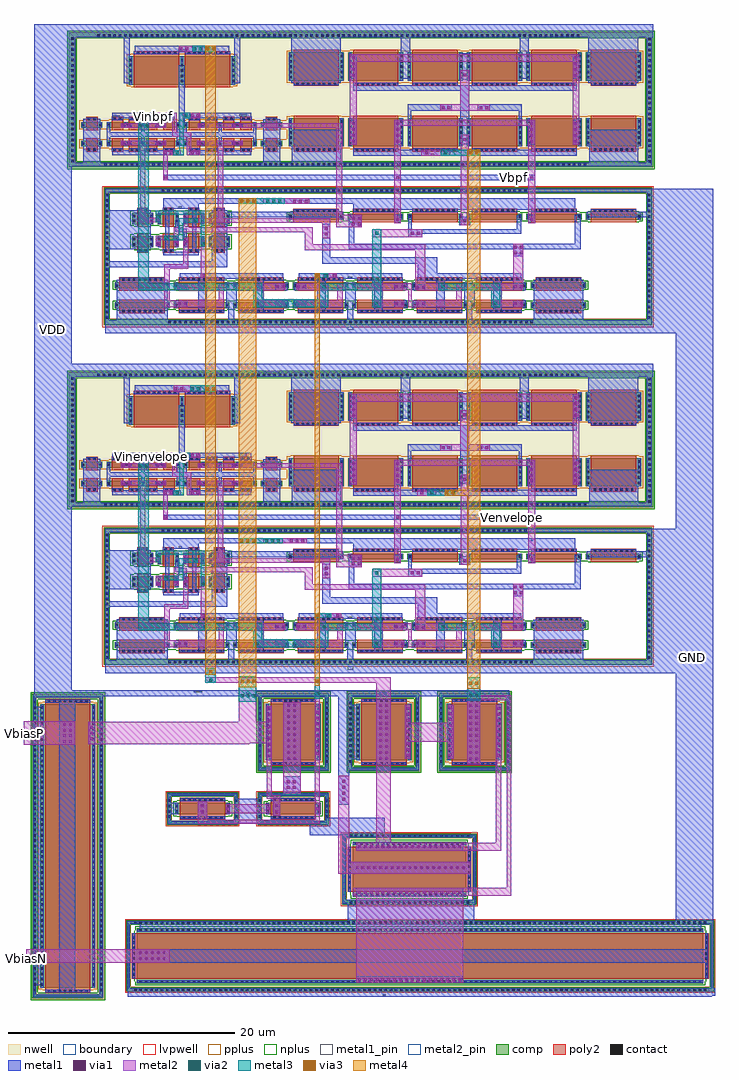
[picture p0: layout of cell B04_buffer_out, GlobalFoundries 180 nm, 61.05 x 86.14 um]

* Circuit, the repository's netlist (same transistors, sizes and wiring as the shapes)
* Extracted by KLayout with GF180MCU LVS runset on : 25/08/2026 01:56

.SUBCKT B04_buffer_out VbiasN VbiasP Venvelope VDD Vinenvelope Vinbpf Vbpf GND
X$1 \$7 VbiasN VDD \$10 \$4 \$3 VbiasP GND B04_OTA_bias_ratio_5
X$2 \$4 \$3 Venvelope VDD Venvelope Vinenvelope \$7 \$10 GND B04_OTA
X$3 \$4 \$3 Vbpf VDD Vbpf Vinbpf \$7 \$10 GND B04_OTA
.ENDS B04_buffer_out

.SUBCKT B04_OTA Vbias1 Vbias2 Vout VDD Vin\x2d Vin+ Vbias3 Vbias0 GND
M$1 \$16 Vbias0 VDD VDD pfet_03v3 L=4U W=5U AS=1.75P AD=1.75P PS=8.9U PD=8.9U
M$3 Vout Vbias3 \$19 VDD pfet_03v3 L=4U W=5U AS=2.2P AD=2.2P PS=11.76U PD=11.76U
M$5 VDD \$11 \$19 VDD pfet_03v3 L=4U W=5U AS=2.2P AD=2.2P PS=11.76U PD=11.76U
M$6 VDD \$11 \$21 VDD pfet_03v3 L=4U W=5U AS=2.2P AD=2.2P PS=11.76U PD=11.76U
M$9 \$21 Vbias3 \$11 VDD pfet_03v3 L=4U W=5U AS=2.2P AD=2.2P PS=11.76U PD=11.76U
M$11 VDD VDD VDD VDD pfet_03v3 L=4U W=10U AS=4.4P AD=4.4P PS=23.52U PD=23.52U
M$15 \$5 Vin\x2d \$16 VDD pfet_03v3 L=1U W=2U AS=0.61P AD=0.61P PS=4.94U
+ PD=4.94U
M$19 \$9 Vin+ \$16 VDD pfet_03v3 L=1U W=2U AS=0.61P AD=0.61P PS=4.94U PD=4.94U
M$23 \$3 Vin+ \$16 VDD pfet_03v3 L=1U W=2U AS=0.61P AD=0.61P PS=4.94U PD=4.94U
M$27 \$4 Vin\x2d \$16 VDD pfet_03v3 L=1U W=2U AS=0.61P AD=0.61P PS=4.94U
+ PD=4.94U
M$31 VDD VDD VDD VDD pfet_03v3 L=1U W=2U AS=0.88P AD=0.88P PS=7.52U PD=7.52U
M$35 \$2 Vbias2 \$5 GND nfet_03v3 L=1U W=2U AS=0.88P AD=0.88P PS=5.76U PD=5.76U
M$36 \$9 Vbias2 \$7 GND nfet_03v3 L=1U W=2U AS=0.88P AD=0.88P PS=5.76U PD=5.76U
M$37 GND GND GND GND nfet_03v3 L=1U W=4U AS=1.76P AD=1.76P PS=11.52U PD=11.52U
M$43 GND \$5 \$2 GND nfet_03v3 L=4U W=1U AS=0.44P AD=0.44P PS=3.76U PD=3.76U
M$44 \$3 Vbias1 GND GND nfet_03v3 L=4U W=1U AS=0.44P AD=0.44P PS=3.76U PD=3.76U
M$45 \$3 \$5 GND GND nfet_03v3 L=4U W=1U AS=0.44P AD=0.44P PS=3.76U PD=3.76U
M$46 GND \$9 \$4 GND nfet_03v3 L=4U W=1U AS=0.44P AD=0.44P PS=3.76U PD=3.76U
M$47 GND Vbias1 \$4 GND nfet_03v3 L=4U W=1U AS=0.44P AD=0.44P PS=3.76U PD=3.76U
M$48 \$7 \$9 GND GND nfet_03v3 L=4U W=1U AS=0.44P AD=0.44P PS=3.76U PD=3.76U
M$49 GND GND GND GND nfet_03v3 L=4U W=3U AS=1.32P AD=1.32P PS=11.28U PD=11.28U
M$52 \$3 Vbias2 \$11 GND nfet_03v3 L=4U W=1U AS=0.44P AD=0.44P PS=3.76U PD=3.76U
M$58 \$4 Vbias2 Vout GND nfet_03v3 L=4U W=1U AS=0.44P AD=0.44P PS=3.76U PD=3.76U
.ENDS B04_OTA

.SUBCKT B04_OTA_bias_ratio_5 Vbias3 VbiasN VDD Vbias0 Vbias1 Vbias2 VbiasP GND
M$1 Vbias2 VbiasP VDD VDD pfet_03v3 L=4U W=25U AS=11P AD=11P PS=50.88U PD=50.88U
M$2 Vbias3 VbiasN GND GND nfet_03v3 L=4U W=50U AS=22P AD=22P PS=100.88U
+ PD=100.88U
M$3 \$10 Vbias1 GND GND nfet_03v3 L=4U W=1U AS=0.44P AD=0.44P PS=2.88U PD=2.88U
M$4 Vbias1 Vbias2 \$10 GND nfet_03v3 L=4U W=1U AS=0.44P AD=0.44P PS=2.88U
+ PD=2.88U
M$5 Vbias3 VDD Vbias0 GND nfet_03v3 L=4U W=10U AS=4.4P AD=4.4P PS=20.88U
+ PD=20.88U
M$6 Vbias0 Vbias3 \$15 VDD pfet_03v3 L=4U W=5U AS=2.2P AD=2.2P PS=10.88U
+ PD=10.88U
M$7 \$15 Vbias0 VDD VDD pfet_03v3 L=4U W=5U AS=2.2P AD=2.2P PS=10.88U PD=10.88U
M$8 Vbias1 GND Vbias2 VDD pfet_03v3 L=4U W=5U AS=2.2P AD=2.2P PS=10.88U
+ PD=10.88U
.ENDS B04_OTA_bias_ratio_5

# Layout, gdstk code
from math import pi, radians
import gdstk
lib = gdstk.Library(unit=1e-6, precision=1e-09)
def R(c, l, rs):  # rectangles x0, y0, x1, y1
    for r in rs: c.add(gdstk.rectangle(r[:2], r[2:], *l))
def A(c, l, x, y, w, h, nx, ny, dx, dy):  # array of equal rectangles
    R(c, l, [(x+i*dx, y+j*dy, x+i*dx+w, y+j*dy+h) for i in range(nx) for j in range(ny)])
boundary = (0, 0)
nwell = (21, 0)
comp = (22, 0)
poly2 = (30, 0)
pplus = (31, 0)
nplus = (32, 0)
contact = (33, 0)
metal1 = (34, 0)
metal1_pin = (34, 10)
via1 = (35, 0)
metal2 = (36, 0)
metal2_pin = (36, 10)
via2 = (38, 0)
via3 = (40, 0)
metal3 = (42, 0)
metal4 = (46, 0)
lvpwell = (204, 0)

pfet_03v3_aerj7t = lib.new_cell('pfet_03v3_AERJ7T')
R(pfet_03v3_aerj7t, boundary, [(-2.95,-3.25,2.95,3.25)])
R(pfet_03v3_aerj7t, nwell, [(-3.25,-3.55,3.25,3.55)])
R(pfet_03v3_aerj7t, comp, [(-3.13,-3.43,3.13,-3.07), (-3.13,-3.07,-2.77,3.07), (2.77,-3.07,3.13,3.07), (-2.44,-2.5,2.44,2.5), (-3.13,3.07,3.13,3.43)])
R(pfet_03v3_aerj7t, poly2, [(-2,-2.96,2,2.96)])
R(pfet_03v3_aerj7t, pplus, [(-2.23,-2.73,2.23,-2.66), (-2.6,-2.66,2.6,2.66), (-2.23,2.66,2.23,2.73)])
R(pfet_03v3_aerj7t, nplus, [(-3.29,-3.59,3.29,-2.96), (-3.29,-2.96,-2.66,2.96), (2.66,-2.96,3.29,2.96), (-3.29,2.96,3.29,3.59)])
A(pfet_03v3_aerj7t, contact, -1.755, -2.89, 0.22, 0.22, 8, 2, 0.47, 5.56)
A(pfet_03v3_aerj7t, contact, -3.06, -2.695, 0.22, 0.22, 1, 12, 0, 0.47)
A(pfet_03v3_aerj7t, contact, 2.84, -2.695, 0.22, 0.22, 1, 12, 0, 0.47)
A(pfet_03v3_aerj7t, contact, -2.37, -2.225, 0.22, 0.22, 1, 10, 0, 0.47)
A(pfet_03v3_aerj7t, contact, 2.15, -2.225, 0.22, 0.22, 1, 10, 0, 0.47)
R(pfet_03v3_aerj7t, metal1, [(-3.065,-3.365,3.065,-3.135), (-3.065,-3.135,-2.835,3.135), (2.835,-3.135,3.065,3.135), (-1.99,-2.895,1.99,-2.665), (-2.375,-2.49,-2.145,2.49), (2.145,-2.49,2.375,2.49), (-1.99,2.665,1.99,2.895), (-3.065,3.135,3.065,3.365)])

nfet_03v3_gptq69 = lib.new_cell('nfet_03v3_GPTQ69')
R(nfet_03v3_gptq69, boundary, [(-2.95,-5.75,2.95,5.75)])
R(nfet_03v3_gptq69, comp, [(-3.13,-5.93,3.13,-5.57), (-3.13,-5.57,-2.77,5.57), (2.77,-5.57,3.13,5.57), (-2.44,-5,2.44,5), (-3.13,5.57,3.13,5.93)])
R(nfet_03v3_gptq69, poly2, [(-2,-5.46,2,5.46)])
R(nfet_03v3_gptq69, pplus, [(-3.15,-5.95,3.15,-5.55), (-3.15,-5.55,-2.74,-5.445), (2.74,-5.55,3.15,-5.445), (-3.16,-5.445,-2.74,5.445), (2.74,-5.445,3.16,5.445), (-3.15,5.445,-2.74,5.55), (2.74,5.445,3.15,5.55), (-3.15,5.55,3.15,5.95)])
R(nfet_03v3_gptq69, nplus, [(-2.23,-5.23,2.23,-5.16), (-2.6,-5.16,2.6,5.16), (-2.23,5.16,2.23,5.23)])
A(nfet_03v3_gptq69, contact, -1.755, -5.39, 0.22, 0.22, 8, 2, 0.47, 10.56)
A(nfet_03v3_gptq69, contact, -3.06, -5.28, 0.22, 0.22, 1, 23, 0, 0.47)
A(nfet_03v3_gptq69, contact, 2.84, -5.28, 0.22, 0.22, 1, 23, 0, 0.47)
A(nfet_03v3_gptq69, contact, -2.37, -4.81, 0.22, 0.22, 1, 21, 0, 0.47)
A(nfet_03v3_gptq69, contact, 2.15, -4.81, 0.22, 0.22, 1, 21, 0, 0.47)
R(nfet_03v3_gptq69, metal1, [(-3.065,-5.865,3.065,-5.635), (-3.065,-5.635,-2.835,5.635), (2.835,-5.635,3.065,5.635), (-1.99,-5.395,1.99,-5.165), (-2.375,-4.99,-2.145,4.99), (2.145,-4.99,2.375,4.99), (-1.99,5.165,1.99,5.395), (-3.065,5.635,3.065,5.865)])
R(nfet_03v3_gptq69, lvpwell, [(-3.25,-6.05,3.25,6.05)])

nfet_03v3_rec73x = lib.new_cell('nfet_03v3_REC73X')
R(nfet_03v3_rec73x, boundary, [(-2.95,-1.25,2.95,1.25)])
R(nfet_03v3_rec73x, comp, [(-3.13,-1.43,3.13,-1.07), (-3.13,-1.07,-2.77,1.07), (2.77,-1.07,3.13,1.07), (-2.44,-0.5,2.44,0.5), (-3.13,1.07,3.13,1.43)])
R(nfet_03v3_rec73x, poly2, [(-2,-0.96,2,0.96)])
R(nfet_03v3_rec73x, pplus, [(-3.15,-1.45,3.15,-1.05), (-3.15,-1.05,-2.74,-0.945), (2.74,-1.05,3.15,-0.945), (-3.16,-0.945,-2.74,0.945), (2.74,-0.945,3.16,0.945), (-3.15,0.945,-2.74,1.05), (2.74,0.945,3.15,1.05), (-3.15,1.05,3.15,1.45)])
R(nfet_03v3_rec73x, nplus, [(-2.23,-0.73,2.23,-0.66), (-2.6,-0.66,2.6,0.66), (-2.23,0.66,2.23,0.73)])
A(nfet_03v3_rec73x, contact, -1.755, -0.89, 0.22, 0.22, 8, 2, 0.47, 1.56)
A(nfet_03v3_rec73x, contact, -3.06, -0.815, 0.22, 0.22, 1, 4, 0, 0.47)
A(nfet_03v3_rec73x, contact, 2.84, -0.815, 0.22, 0.22, 1, 4, 0, 0.47)
R(nfet_03v3_rec73x, contact, [(-2.37,-0.345,-2.15,-0.125), (2.15,-0.345,2.37,-0.125), (-2.37,0.125,-2.15,0.345), (2.15,0.125,2.37,0.345)])
R(nfet_03v3_rec73x, metal1, [(-3.065,-1.365,3.065,-1.135), (-3.065,-1.135,-2.835,1.135), (2.835,-1.135,3.065,1.135), (-1.99,-0.895,1.99,-0.665), (-2.375,-0.49,-2.145,0.49), (2.145,-0.49,2.375,0.49), (-1.99,0.665,1.99,0.895), (-3.065,1.135,3.065,1.365)])
R(nfet_03v3_rec73x, lvpwell, [(-3.25,-1.55,3.25,1.55)])

nfet_03v3_fflzc7 = lib.new_cell('nfet_03v3_FFLZC7')
R(nfet_03v3_fflzc7, boundary, [(-2.95,-25.75,2.95,25.75)])
R(nfet_03v3_fflzc7, comp, [(-3.13,-25.93,3.13,-25.57), (-3.13,-25.57,-2.77,25.57), (2.77,-25.57,3.13,25.57), (-2.44,-25,2.44,25), (-3.13,25.57,3.13,25.93)])
R(nfet_03v3_fflzc7, poly2, [(-2,-25.46,2,25.46)])
R(nfet_03v3_fflzc7, pplus, [(-3.15,-25.95,3.15,-25.55), (-3.15,-25.55,-2.74,-25.445), (2.74,-25.55,3.15,-25.445), (-3.16,-25.445,-2.74,25.445), (2.74,-25.445,3.16,25.445), (-3.15,25.445,-2.74,25.55), (2.74,25.445,3.15,25.55), (-3.15,25.55,3.15,25.95)])
R(nfet_03v3_fflzc7, nplus, [(-2.23,-25.23,2.23,-25.16), (-2.6,-25.16,2.6,25.16), (-2.23,25.16,2.23,25.23)])
A(nfet_03v3_fflzc7, contact, -1.755, -25.39, 0.22, 0.22, 8, 2, 0.47, 50.56)
A(nfet_03v3_fflzc7, contact, -3.06, -25.255, 0.22, 0.22, 1, 108, 0, 0.47)
A(nfet_03v3_fflzc7, contact, 2.84, -25.255, 0.22, 0.22, 1, 108, 0, 0.47)
A(nfet_03v3_fflzc7, contact, -2.37, -24.785, 0.22, 0.22, 1, 106, 0, 0.47)
A(nfet_03v3_fflzc7, contact, 2.15, -24.785, 0.22, 0.22, 1, 106, 0, 0.47)
R(nfet_03v3_fflzc7, metal1, [(-3.065,-25.865,3.065,-25.635), (-3.065,-25.635,-2.835,25.635), (2.835,-25.635,3.065,25.635), (-1.99,-25.395,1.99,-25.165), (-2.375,-24.99,-2.145,24.99), (2.145,-24.99,2.375,24.99), (-1.99,25.165,1.99,25.395), (-3.065,25.635,3.065,25.865)])
R(nfet_03v3_fflzc7, lvpwell, [(-3.25,-26.05,3.25,26.05)])

pfet_03v3_z6kxze = lib.new_cell('pfet_03v3_Z6KXZE')
R(pfet_03v3_z6kxze, boundary, [(-2.95,-13.25,2.95,13.25)])
R(pfet_03v3_z6kxze, nwell, [(-3.25,-13.55,3.25,13.55)])
R(pfet_03v3_z6kxze, comp, [(-3.13,-13.43,3.13,-13.07), (-3.13,-13.07,-2.77,13.07), (2.77,-13.07,3.13,13.07), (-2.44,-12.5,2.44,12.5), (-3.13,13.07,3.13,13.43)])
R(pfet_03v3_z6kxze, poly2, [(-2,-12.96,2,12.96)])
R(pfet_03v3_z6kxze, pplus, [(-2.23,-12.73,2.23,-12.66), (-2.6,-12.66,2.6,12.66), (-2.23,12.66,2.23,12.73)])
R(pfet_03v3_z6kxze, nplus, [(-3.29,-13.59,3.29,-12.96), (-3.29,-12.96,-2.66,12.96), (2.66,-12.96,3.29,12.96), (-3.29,12.96,3.29,13.59)])
A(pfet_03v3_z6kxze, contact, -1.755, -12.89, 0.22, 0.22, 8, 2, 0.47, 25.56)
A(pfet_03v3_z6kxze, contact, -3.06, -12.8, 0.22, 0.22, 1, 55, 0, 0.47)
A(pfet_03v3_z6kxze, contact, 2.84, -12.8, 0.22, 0.22, 1, 55, 0, 0.47)
A(pfet_03v3_z6kxze, contact, -2.37, -12.33, 0.22, 0.22, 1, 53, 0, 0.47)
A(pfet_03v3_z6kxze, contact, 2.15, -12.33, 0.22, 0.22, 1, 53, 0, 0.47)
R(pfet_03v3_z6kxze, metal1, [(-3.065,-13.365,3.065,-13.135), (-3.065,-13.135,-2.835,13.135), (2.835,-13.135,3.065,13.135), (-1.99,-12.895,1.99,-12.665), (-2.375,-12.49,-2.145,12.49), (2.145,-12.49,2.375,12.49), (-1.99,12.665,1.99,12.895), (-3.065,13.135,3.065,13.365)])

b04_ota_bias_ratio_5 = lib.new_cell('B04_OTA_bias_ratio_5')
R(b04_ota_bias_ratio_5, metal1, [(-3.85,-20.1,47.7,-20), (-3.85,-20,48,-19.45), (-9.9,-19.6,-8.5,6), (18.65,-19.45,48,-19.35), (-12.1,-19.1,-11.45,5.5), (16.3,-18.85,25.65,-18.3), (-3.4,-17.1,47.3,-15.9), (-2.8,-14.25,46.75,-13.55), (15.55,-13.55,26.7,-11.9), (15.3,-11.9,26.7,-11.8), (15.25,-11.8,26.7,-11.55), (16.3,-11.2,25.75,-10.5), (15.65,-9.25,26.35,-8.2), (16.3,-7.2,25.75,-6.5), (12.2,-5.85,18.8,-4.75), (4.45,-4.8,9.15,-4.75), (5.75,-4.75,7.7,-4.4), (13.6,-4.75,18.8,-4.3), (5.6,-4.4,7.85,-2.65), (9,-4.4,9.45,-4.2), (2.3,-4.35,3.15,-2.65), (9,-4.2,9.6,-2.8), (-0.25,-4,0.5,-3), (4.8,-3.9,5.2,-3.1), (8.3,-3.9,8.7,-3.1), (12.65,-3.9,13.1,-3.1), (14.7,-3.15,15.7,6.4), (9,-2.8,9.45,-2.65), (9.85,-2.2,11.4,-0.65), (9.85,0.4,11.4,6.1), (18.05,0.4,19.35,6.1), (26.1,0.4,27.25,6.05), (8.4,0.85,8.85,5.6), (15.75,0.85,16.6,5.65), (12.65,0.9,13,1), (20.6,0.9,21.05,5.65), (24.45,0.9,24.9,5.65), (28.6,0.9,29.1,5.65), (12.65,1,13.05,5.4), (-7.35,2.2,-6.9,4.15), (12.65,5.4,13,5.55), (-11.05,6,-7.25,6.05), (-12.1,6.4,29.8,6.95)])
R(b04_ota_bias_ratio_5, metal1_pin, [(18.65,-20,18.9,-19.9), (1.95,6.75,2.7,6.85)])
A(b04_ota_bias_ratio_5, via1, 16.45, -18.73, 0.26, 0.26, 18, 2, 0.52, 7.7)
A(b04_ota_bias_ratio_5, via1, -2.87, -16.865, 0.26, 0.26, 5, 2, 0.52, 0.52)
A(b04_ota_bias_ratio_5, via1, 16.24, -8.855, 0.26, 0.26, 19, 1, 0.52, 0)
A(b04_ota_bias_ratio_5, via1, 16.45, -6.98, 0.26, 0.26, 18, 1, 0.52, 0)
A(b04_ota_bias_ratio_5, via1, 15.07, -2.785, 0.26, 0.26, 1, 4, 0, 0.52)
A(b04_ota_bias_ratio_5, via1, 26.285, 0.78, 0.26, 0.26, 1, 10, 0, 0.52)
A(b04_ota_bias_ratio_5, via1, 26.805, 0.78, 0.26, 0.26, 1, 10, 0, 0.52)
A(b04_ota_bias_ratio_5, via1, 18.335, 0.805, 0.26, 0.26, 1, 10, 0, 0.52)
A(b04_ota_bias_ratio_5, via1, 18.855, 0.805, 0.26, 0.26, 1, 10, 0, 0.52)
A(b04_ota_bias_ratio_5, via1, 10.235, 0.83, 0.26, 0.26, 1, 10, 0, 0.52)
A(b04_ota_bias_ratio_5, via1, 10.755, 0.83, 0.26, 0.26, 1, 10, 0, 0.52)
A(b04_ota_bias_ratio_5, via1, 8.47, 1.015, 0.26, 0.26, 1, 9, 0, 0.52)
A(b04_ota_bias_ratio_5, via1, 20.72, 1.065, 0.26, 0.26, 1, 9, 0, 0.52)
A(b04_ota_bias_ratio_5, via1, 28.72, 1.065, 0.26, 0.26, 1, 9, 0, 0.52)
A(b04_ota_bias_ratio_5, via1, 24.52, 1.115, 0.26, 0.26, 1, 9, 0, 0.52)
A(b04_ota_bias_ratio_5, via1, 12.77, 1.25, 0.26, 0.26, 1, 8, 0, 0.52)
A(b04_ota_bias_ratio_5, via1, -9.59, 2.265, 0.26, 0.26, 1, 4, 0, 0.52)
A(b04_ota_bias_ratio_5, via1, -9.07, 2.265, 0.26, 0.26, 1, 4, 0, 0.52)
A(b04_ota_bias_ratio_5, via1, -7.23, 2.525, 0.26, 0.26, 1, 3, 0, 0.52)
R(b04_ota_bias_ratio_5, via1, [(2.595,-3.89,2.855,-3.63), (9.145,-3.89,9.405,-3.63), (4.87,-3.63,5.13,-3.37), (8.37,-3.63,8.63,-3.37), (12.77,-3.63,13.03,-3.37), (2.595,-3.37,2.855,-3.11), (9.145,-3.37,9.405,-3.11), (10.185,-1.765,10.445,-1.505), (10.705,-1.765,10.965,-1.505), (10.185,-1.245,10.445,-0.985), (10.705,-1.245,10.965,-0.985)])
R(b04_ota_bias_ratio_5, metal2, [(16.3,-18.85,25.75,-11.2), (-12.55,-17.1,-0.15,-15.9), (16.05,-11.2,30,-10.5), (29.6,-10.5,30,6.05), (14.7,-9.25,26.35,-8.2), (14.7,-8.2,15.7,-0.6), (16.3,-7.2,29.1,-6.5), (18.05,-6.5,19.35,6.95), (28.6,-6.5,29.1,5.65), (2.3,-4.85,13.1,-4.5), (2.3,-4.5,3.15,-2.85), (12.65,-4.5,13.1,6.95), (9,-4.15,9.6,-2.65), (4.8,-3.9,8.7,-3.1), (8.4,-2.65,9.6,-2.3), (8.4,-2.3,8.85,2.25), (9.85,-2.15,11.4,5.9), (26.1,0.4,27.25,6.05), (20.6,0.9,21.05,2.4), (24.4,0.9,24.9,2.4), (-12.75,2.15,-8.5,4.2), (-7.35,2.2,6.85,2.25), (-7.35,2.25,8.85,4.15), (20.6,2.4,24.9,4.1), (20.6,4.1,21.05,5.65), (24.4,4.1,24.9,5.65), (5.95,4.15,7.5,6.95), (8.4,4.15,8.85,5.6), (26.1,6.05,30,6.5), (26.1,6.5,27.25,6.95)])
R(b04_ota_bias_ratio_5, metal2_pin, [(-12.5,-16.5,-12.45,-16.4), (-12.7,2.75,-12.55,2.9), (18.4,6.5,19,6.75), (6.55,6.65,6.9,6.8), (26.3,6.7,26.9,6.85), (12.75,6.75,12.95,6.9)])
R(b04_ota_bias_ratio_5, lvpwell, [(4.8,-3.9,5,-3.75)])
b04_ota_bias_ratio_5.add(gdstk.Reference(pfet_03v3_aerj7t, (18.75,3.25)))
b04_ota_bias_ratio_5.add(gdstk.Reference(pfet_03v3_aerj7t, (26.75,3.25)))
b04_ota_bias_ratio_5.add(gdstk.Reference(nfet_03v3_gptq69, (21,-8.85), rotation=3*pi/2))
b04_ota_bias_ratio_5.add(gdstk.Reference(nfet_03v3_rec73x, (2.75,-3.5)))
b04_ota_bias_ratio_5.add(gdstk.Reference(nfet_03v3_rec73x, (10.75,-3.5)))
b04_ota_bias_ratio_5.add(gdstk.Reference(nfet_03v3_fflzc7, (21.95,-16.5), rotation=3*pi/2))
b04_ota_bias_ratio_5.add(gdstk.Reference(pfet_03v3_z6kxze, (-9.15,-6.8)))
b04_ota_bias_ratio_5.add(gdstk.Reference(pfet_03v3_aerj7t, (10.75,3.25)))
b04_ota_bias_ratio_5.add(gdstk.Label('VDD', (2.325,6.8), layer=34, texttype=10))
b04_ota_bias_ratio_5.add(gdstk.Label('Vbias2', (6.725,6.725), layer=36, texttype=10))
b04_ota_bias_ratio_5.add(gdstk.Label('Vbias1', (12.85,6.825), layer=36, texttype=10))
b04_ota_bias_ratio_5.add(gdstk.Label('Vbias0', (18.7,6.625), layer=36, texttype=10))
b04_ota_bias_ratio_5.add(gdstk.Label('Vbias3', (26.6,6.775), layer=36, texttype=10))
b04_ota_bias_ratio_5.add(gdstk.Label('VbiasP', (-12.625,2.825), layer=36, texttype=10))
b04_ota_bias_ratio_5.add(gdstk.Label('VbiasN', (-12.475,-16.45), layer=36, texttype=10))
b04_ota_bias_ratio_5.add(gdstk.Label('GND', (18.775,-19.95), layer=34, texttype=10))

nfet_03v3_2m8gy8 = lib.new_cell('nfet_03v3_2M8GY8')
R(nfet_03v3_2m8gy8, comp, [(-2.44,-0.37,2.44,0.13)])
R(nfet_03v3_2m8gy8, poly2, [(-2,-0.59,2,0.59)])
R(nfet_03v3_2m8gy8, nplus, [(-2.23,-0.6,2.23,-0.53), (-2.6,-0.53,2.6,0.29), (-2.23,0.29,2.23,0.36)])
A(nfet_03v3_2m8gy8, contact, -1.755, 0.3, 0.22, 0.22, 8, 1, 0.47, 0)
R(nfet_03v3_2m8gy8, contact, [(-2.37,-0.23,-2.15,-0.01), (2.15,-0.23,2.37,-0.01)])
R(nfet_03v3_2m8gy8, metal1, [(-2.375,-0.36,-2.145,0.12), (2.145,-0.36,2.375,0.12), (-1.99,0.295,1.99,0.525)])
R(nfet_03v3_2m8gy8, lvpwell, [(-2.56,-0.71,2.56,0.71)])

nfet_03v3_ppzgc5 = lib.new_cell('nfet_03v3_PPZGC5')
R(nfet_03v3_ppzgc5, comp, [(-2.44,-0.13,2.44,0.37)])
R(nfet_03v3_ppzgc5, poly2, [(-2,-0.59,2,0.59)])
R(nfet_03v3_ppzgc5, nplus, [(-2.23,-0.36,2.23,-0.29), (-2.6,-0.29,2.6,0.53), (-2.23,0.53,2.23,0.6)])
A(nfet_03v3_ppzgc5, contact, -1.755, -0.52, 0.22, 0.22, 8, 1, 0.47, 0)
R(nfet_03v3_ppzgc5, contact, [(-2.37,0.01,-2.15,0.23), (2.15,0.01,2.37,0.23)])
R(nfet_03v3_ppzgc5, metal1, [(-1.99,-0.525,1.99,-0.295), (-2.375,-0.12,-2.145,0.36), (2.145,-0.12,2.375,0.36)])
R(nfet_03v3_ppzgc5, lvpwell, [(-2.56,-0.71,2.56,0.71)])

nfet_03v3_bn4d6p = lib.new_cell('nfet_03v3_BN4D6P')
R(nfet_03v3_bn4d6p, comp, [(-0.94,-0.38,0.94,0.62)])
R(nfet_03v3_bn4d6p, poly2, [(-0.5,-0.84,0.5,0.84)])
R(nfet_03v3_bn4d6p, nplus, [(-0.73,-0.61,0.73,-0.54), (-1.1,-0.54,1.1,0.78), (-0.73,0.78,0.73,0.85)])
R(nfet_03v3_bn4d6p, contact, [(-0.345,-0.77,-0.125,-0.55), (0.125,-0.77,0.345,-0.55), (-0.87,-0.225,-0.65,-0.005), (0.65,-0.225,0.87,-0.005), (-0.87,0.245,-0.65,0.465), (0.65,0.245,0.87,0.465)])
R(nfet_03v3_bn4d6p, metal1, [(-0.49,-0.775,0.49,-0.545), (-0.875,-0.37,-0.645,0.61), (0.645,-0.37,0.875,0.61)])
R(nfet_03v3_bn4d6p, lvpwell, [(-1.06,-0.96,1.06,0.96)])

nfet_03v3_vm6bb4 = lib.new_cell('nfet_03v3_VM6BB4')
R(nfet_03v3_vm6bb4, comp, [(-0.94,-0.62,0.94,0.38)])
R(nfet_03v3_vm6bb4, poly2, [(-0.5,-0.84,0.5,0.84)])
R(nfet_03v3_vm6bb4, nplus, [(-0.73,-0.85,0.73,-0.78), (-1.1,-0.78,1.1,0.54), (-0.73,0.54,0.73,0.61)])
R(nfet_03v3_vm6bb4, contact, [(-0.87,-0.465,-0.65,-0.245), (0.65,-0.465,0.87,-0.245), (-0.87,0.005,-0.65,0.225), (0.65,0.005,0.87,0.225), (-0.345,0.55,-0.125,0.77), (0.125,0.55,0.345,0.77)])
R(nfet_03v3_vm6bb4, metal1, [(-0.875,-0.61,-0.645,0.37), (0.645,-0.61,0.875,0.37), (-0.49,0.545,0.49,0.775)])
R(nfet_03v3_vm6bb4, lvpwell, [(-1.06,-0.96,1.06,0.96)])

pfet_03v3_6kzzre = lib.new_cell('pfet_03v3_6KZZRE')
R(pfet_03v3_6kzzre, nwell, [(-1.37,-1.02,1.37,1.02)])
R(pfet_03v3_6kzzre, comp, [(-0.94,-0.37,0.94,0.13)])
R(pfet_03v3_6kzzre, poly2, [(-0.5,-0.59,0.5,0.59)])
R(pfet_03v3_6kzzre, pplus, [(-0.73,-0.6,0.73,-0.53), (-1.1,-0.53,1.1,0.29), (-0.73,0.29,0.73,0.36)])
R(pfet_03v3_6kzzre, contact, [(-0.87,-0.23,-0.65,-0.01), (0.65,-0.23,0.87,-0.01), (-0.345,0.3,-0.125,0.52), (0.125,0.3,0.345,0.52)])
R(pfet_03v3_6kzzre, metal1, [(-0.875,-0.36,-0.645,0.12), (0.645,-0.36,0.875,0.12), (-0.49,0.295,0.49,0.525)])

pfet_03v3_wljepm = lib.new_cell('pfet_03v3_WLJEPM')
R(pfet_03v3_wljepm, nwell, [(-1.37,-1.02,1.37,1.02)])
R(pfet_03v3_wljepm, comp, [(-0.94,-0.13,0.94,0.37)])
R(pfet_03v3_wljepm, poly2, [(-0.5,-0.59,0.5,0.59)])
R(pfet_03v3_wljepm, pplus, [(-0.73,-0.36,0.73,-0.29), (-1.1,-0.29,1.1,0.53), (-0.73,0.53,0.73,0.6)])
R(pfet_03v3_wljepm, contact, [(-0.345,-0.52,-0.125,-0.3), (0.125,-0.52,0.345,-0.3), (-0.87,0.01,-0.65,0.23), (0.65,0.01,0.87,0.23)])
R(pfet_03v3_wljepm, metal1, [(-0.49,-0.525,0.49,-0.295), (-0.875,-0.12,-0.645,0.36), (0.645,-0.12,0.875,0.36)])

pfet_03v3_vsaa3l = lib.new_cell('pfet_03v3_VSAA3L')
R(pfet_03v3_vsaa3l, nwell, [(-3.65,-1.02,3.65,1.02)])
R(pfet_03v3_vsaa3l, comp, [(-3.22,-0.37,3.22,0.13)])
A(pfet_03v3_vsaa3l, poly2, -2.78, -0.59, 1, 1.18, 4, 1, 1.52, 0)
R(pfet_03v3_vsaa3l, pplus, [(-3.01,-0.6,3.01,-0.53), (-3.38,-0.53,3.38,0.29), (-3.01,0.29,3.01,0.36)])
A(pfet_03v3_vsaa3l, contact, -3.15, -0.23, 0.22, 0.22, 5, 1, 1.52, 0)
R(pfet_03v3_vsaa3l, contact, [(-2.625,0.3,-2.405,0.52), (-2.155,0.3,-1.935,0.52), (-1.105,0.3,-0.885,0.52), (-0.635,0.3,-0.415,0.52), (0.415,0.3,0.635,0.52), (0.885,0.3,1.105,0.52), (1.935,0.3,2.155,0.52), (2.405,0.3,2.625,0.52)])
A(pfet_03v3_vsaa3l, metal1, -3.155, -0.36, 0.23, 0.48, 5, 1, 1.52, 0)
A(pfet_03v3_vsaa3l, metal1, -2.77, 0.295, 0.98, 0.23, 4, 1, 1.52, 0)

pfet_03v3_p2re22 = lib.new_cell('pfet_03v3_P2RE22')
R(pfet_03v3_p2re22, nwell, [(-3.65,-1.02,3.65,1.02)])
R(pfet_03v3_p2re22, comp, [(-3.22,-0.13,3.22,0.37)])
A(pfet_03v3_p2re22, poly2, -2.78, -0.59, 1, 1.18, 4, 1, 1.52, 0)
R(pfet_03v3_p2re22, pplus, [(-3.01,-0.36,3.01,-0.29), (-3.38,-0.29,3.38,0.53), (-3.01,0.53,3.01,0.6)])
A(pfet_03v3_p2re22, contact, -3.15, 0.01, 0.22, 0.22, 5, 1, 1.52, 0)
R(pfet_03v3_p2re22, contact, [(-2.625,-0.52,-2.405,-0.3), (-2.155,-0.52,-1.935,-0.3), (-1.105,-0.52,-0.885,-0.3), (-0.635,-0.52,-0.415,-0.3), (0.415,-0.52,0.635,-0.3), (0.885,-0.52,1.105,-0.3), (1.935,-0.52,2.155,-0.3), (2.405,-0.52,2.625,-0.3)])
A(pfet_03v3_p2re22, metal1, -2.77, -0.525, 0.98, 0.23, 4, 1, 1.52, 0)
A(pfet_03v3_p2re22, metal1, -3.155, -0.12, 0.23, 0.48, 5, 1, 1.52, 0)

pfet_03v3_jkk7x9 = lib.new_cell('pfet_03v3_JKK7X9')
R(pfet_03v3_jkk7x9, nwell, [(-2.87,-2.02,2.87,2.02)])
R(pfet_03v3_jkk7x9, comp, [(-2.44,-1.13,2.44,1.37)])
R(pfet_03v3_jkk7x9, poly2, [(-2,-1.59,2,1.59)])
R(pfet_03v3_jkk7x9, pplus, [(-2.23,-1.36,2.23,-1.29), (-2.6,-1.29,2.6,1.53), (-2.23,1.53,2.23,1.6)])
A(pfet_03v3_jkk7x9, contact, -1.755, -1.52, 0.22, 0.22, 8, 1, 0.47, 0)
A(pfet_03v3_jkk7x9, contact, -2.37, -0.93, 0.22, 0.22, 1, 5, 0, 0.47)
A(pfet_03v3_jkk7x9, contact, 2.15, -0.93, 0.22, 0.22, 1, 5, 0, 0.47)
R(pfet_03v3_jkk7x9, metal1, [(-1.99,-1.525,1.99,-1.295), (-2.375,-1.12,-2.145,1.36), (2.145,-1.12,2.375,1.36)])

pfet_03v3_mw6kh8 = lib.new_cell('pfet_03v3_MW6KH8')
R(pfet_03v3_mw6kh8, nwell, [(-5.13,-2.02,5.13,2.02)])
R(pfet_03v3_mw6kh8, comp, [(-4.7,-1.37,4.7,1.13)])
R(pfet_03v3_mw6kh8, poly2, [(-4.26,-1.59,-0.26,1.59), (0.26,-1.59,4.26,1.59)])
R(pfet_03v3_mw6kh8, pplus, [(-4.49,-1.6,4.49,-1.53), (-4.86,-1.53,4.86,1.29), (-4.49,1.29,4.49,1.36)])
A(pfet_03v3_mw6kh8, contact, -4.63, -1.17, 0.22, 0.22, 3, 5, 4.52, 0.47)
A(pfet_03v3_mw6kh8, contact, -4.015, 1.3, 0.22, 0.22, 8, 1, 0.47, 0)
A(pfet_03v3_mw6kh8, contact, 0.505, 1.3, 0.22, 0.22, 8, 1, 0.47, 0)
A(pfet_03v3_mw6kh8, metal1, -4.635, -1.36, 0.23, 2.48, 3, 1, 4.52, 0)
R(pfet_03v3_mw6kh8, metal1, [(-4.25,1.295,-0.27,1.525), (0.27,1.295,4.25,1.525)])

b04_ota = lib.new_cell('B04_OTA')
R(b04_ota, nwell, [(-2.35,-6.8,49.5,5.4)])
R(b04_ota, comp, [(0.9,-20.55,49.25,-20.05), (0.9,-20.05,1.4,-8.95), (48.75,-20.05,49.25,-8.95), (0.9,-8.95,49.25,-8.45), (-2.2,-6.65,49.35,-6.15), (-2.2,-6.15,-1.55,4.75), (48.7,-6.15,49.35,4.75), (-2.2,4.75,49.35,5.25)])
A(b04_ota, pplus, 22.22, -4.97, 0.05, 2.82, 5, 2, 5.25, 5.8)
R(b04_ota, pplus, [(0.88,-20.57,49.27,-20.03), (0.88,-20.03,1.42,-8.97), (48.73,-20.03,49.27,-8.97), (0.88,-8.97,49.27,-8.43), (0.92,-4.97,0.97,-4.15), (7.73,-4.97,7.77,-4.15), (14.53,-4.97,14.57,-4.15), (16.77,-4.97,17.02,-4.15), (0.92,-3.31,0.97,-2.49), (7.73,-3.31,7.77,-2.49), (14.53,-3.31,14.57,-2.49), (16.77,-3.31,17.02,-2.49)])
A(b04_ota, nplus, 6.86, -19.23, 0.05, 0.82, 7, 2, 5.25, 1.76)
A(b04_ota, nplus, 5.41, -13.88, 0.05, 1.32, 3, 2, 2.25, 2.06)
A(b04_ota, nplus, 22.21, -11.42, 0.05, 0.82, 5, 1, 5.25, 0)
R(b04_ota, nplus, [(-2.36,-6.81,49.51,-6.13), (-2.36,-6.13,-1.53,4.73), (48.68,-6.13,49.51,4.73), (-2.36,4.73,49.51,5.41)])
A(b04_ota, contact, 6.56, -20.41, 0.22, 0.22, 69, 1, 0.47, 0)
A(b04_ota, contact, 1.04, -20.015, 0.22, 0.22, 1, 24, 0, 0.47)
A(b04_ota, contact, 48.89, -20.015, 0.22, 0.22, 1, 24, 0, 0.47)
A(b04_ota, contact, 6.01, -8.81, 0.22, 0.22, 69, 1, 0.47, 0)
A(b04_ota, contact, 0.915, -6.51, 0.22, 0.22, 91, 1, 0.47, 0)
A(b04_ota, contact, 48.915, -6.265, 0.22, 0.22, 1, 24, 0, 0.47)
A(b04_ota, contact, -1.985, -6.215, 0.22, 0.22, 1, 24, 0, 0.47)
A(b04_ota, contact, 0.315, 4.89, 0.22, 0.22, 91, 1, 0.47, 0)
A(b04_ota, metal1, 11.85, -20.15, 0.55, 1.15, 3, 1, 10.5, 0)
A(b04_ota, metal1, 11.7, -19, 0.9, 2.15, 3, 1, 10.5, 0)
R(b04_ota, metal1, [(1,-21.3,49.15,-20.15), (1,-20.15,1.3,-15.45), (2,-20.15,6.5,-16.55), (38.8,-20.15,43.2,-16.6), (48.85,-20.15,49.15,-11.05), (9.2,-19.4,9.95,-16.5), (14.25,-19.4,15,-16.5), (19.7,-19.4,20.45,-16.5), (24.75,-19.4,25.5,-16.5), (30.2,-19.4,30.95,-16.5), (35.25,-19.4,36,-16.5), (7.15,-19,8.25,-18.4), (16,-19,17.1,-18.4), (17.65,-19,18.75,-18.4), (26.5,-19,27.6,-18.4), (28.15,-19,29.25,-18.4), (37,-19,38.1,-18.4), (7.15,-17.5,8.25,-16.9), (16,-17.5,17.1,-16.9), (17.65,-17.5,18.75,-16.9), (26.5,-17.5,27.6,-16.9), (28.15,-17.5,29.25,-16.95), (37,-17.5,38.1,-16.9), (28.15,-16.95,28.35,-16.9), (7.6,-16.5,16.7,-16), (18.1,-16.5,27.2,-16), (29.25,-16.5,37.7,-16.45), (28.6,-16.45,37.7,-16), (28.6,-16,30.3,-15.15), (1,-15.45,11.75,-14.95), (20.15,-15.15,30.3,-14.6), (1,-14.95,1.3,-13.9), (10.4,-14.95,11.75,-11.05), (20.15,-14.6,20.85,-11.65), (37,-14.5,37.9,-13.9), (6.1,-14.4,9.25,-14.1), (6.3,-14,6.65,-10.4), (8.7,-13.95,9.05,-10.35), (1,-13.9,5,-10.45), (22.5,-13.9,42.95,-13.4), (5.45,-13.6,5.9,-12.85), (7.05,-13.6,7.5,-12.85), (7.9,-13.6,8.35,-12.85), (9.45,-13.6,9.9,-12.85), (22.5,-13.4,23,-11.95), (42.45,-13.4,42.95,-10.85), (7.95,-12.85,8.2,-12.35), (27.75,-12.8,29,-12.5), (27.75,-12.5,37.7,-12.1), (7.2,-12.35,8.2,-12.05), (27.75,-12.1,28.05,-10.85), (37.3,-12.1,37.7,-10.9), (7.2,-12.05,7.45,-11.3), (22.5,-11.95,23.65,-10.85), (32.25,-11.745,33.2,-10.995), (26.5,-11.6,27.1,-10.85), (38.35,-11.6,38.95,-10.85), (7.9,-11.55,8.35,-10.8), (9.45,-11.55,9.9,-10.8), (5.45,-11.5,5.9,-10.75), (10.4,-11.05,22,-10.55), (43.5,-11.05,49.15,-10.55), (10.4,-10.55,11.75,-10.45), (48.85,-10.55,49.15,-8.85), (1,-10.45,1.3,-8.85), (22.9,-10.4,42.5,-9.85), (6.1,-10.3,9.25,-9.85), (6.1,-9.85,42.5,-9.4), (1,-8.85,49.15,-8.55), (-2.1,-6.55,49.25,-6.25), (-2.1,-6.25,-1.65,4.85), (-0.95,-6.25,0.55,-2.35), (14.95,-6.25,16.45,-2.4), (17.45,-6.25,21.8,-3.35), (43.7,-6.25,48.05,-3.35), (48.8,-6.25,49.25,4.85), (22.9,-5.65,42.6,-5.1), (1.6,-5.6,7.1,-5.15), (8.4,-5.6,13.9,-5.15), (7.3,-4.75,8.2,-3.95), (2.35,-4.7,3.35,-4.3), (5.4,-4.7,6.4,-4.3), (9.1,-4.7,10.1,-4.3), (12.15,-4.7,13.15,-4.3), (22.6,-4.65,23.2,-2.45), (26.5,-4.65,27.1,-2.45), (38.35,-4.65,38.95,-2.45), (42.25,-4.65,42.85,-2.45), (32.35,-4.595,33.15,0.105), (1.15,-4.55,1.45,-3.95), (4.2,-4.55,4.5,-3.95), (11,-4.55,11.3,-3.95), (14.05,-4.55,14.35,-3.95), (1.15,-3.95,14.35,-3.55), (1.15,-3.55,1.45,-2.9), (4.2,-3.55,4.5,-2.9), (7.3,-3.55,8.2,-2.7), (11,-3.55,11.3,-2.9), (14.05,-3.55,14.35,-2.9), (2.35,-3.15,3.35,-2.75), (5.4,-3.15,6.4,-2.75), (9.15,-3.15,10.15,-2.75), (12.15,-3.15,13.15,-2.75), (7.5,-2.7,8,2.35), (27.7,-2.35,28,-1.65), (37.5,-2.35,37.75,-1.65), (1.6,-2.3,7.1,-1.85), (8.4,-2.3,13.9,-1.85), (27.7,-1.65,31.6,-1.1), (33.9,-1.65,37.75,-1.1), (22.9,0.105,42.6,0.605), (2.65,0.75,3.2,1), (12.35,0.75,12.9,1), (17.4,0.8,21.8,4.85), (43.65,0.8,48.05,4.85), (2.65,1,3.15,4.85), (12.4,1,12.9,4.85), (32.3,1.1,33.2,3.4), (22.6,1.15,23.2,3.35), (27.1,1.15,27.9,4.85), (37.6,1.15,38.4,4.85), (42.25,1.15,42.85,3.35), (4.9,3.35,6.05,3.5), (9.5,3.35,10.65,3.5), (3.6,3.5,11.95,4.1), (-2.1,4.85,49.35,6)])
R(b04_ota, metal1_pin, [(22.4,-21,22.9,-20.7), (22.4,-16.4,22.8,-16.3), (7.5,-10.25,7.75,-10.1), (29.75,-5.65,30.05,-5.45), (1.7,-2.15,2.3,-2.05), (12.85,-2.15,13.5,-1.95), (7.45,3.6,8.2,3.75), (15.15,5.1,16.35,5.4)])
A(b04_ota, via1, 22.795, -4.46, 0.26, 0.26, 1, 4, 0, 0.52)
A(b04_ota, via1, 26.695, -4.46, 0.26, 0.26, 1, 4, 0, 0.52)
A(b04_ota, via1, 38.495, -4.46, 0.26, 0.26, 1, 4, 0, 0.52)
A(b04_ota, via1, 42.395, -4.46, 0.26, 0.26, 1, 4, 0, 0.52)
A(b04_ota, via1, 22.795, 1.34, 0.26, 0.26, 1, 4, 0, 0.52)
A(b04_ota, via1, 42.395, 1.34, 0.26, 0.26, 1, 4, 0, 0.52)
R(b04_ota, via1, [(7.41,-18.83,7.67,-18.57), (7.93,-18.83,8.19,-18.57), (16.06,-18.83,16.32,-18.57), (16.58,-18.83,16.84,-18.57), (17.91,-18.83,18.17,-18.57), (18.43,-18.83,18.69,-18.57), (26.56,-18.83,26.82,-18.57), (27.08,-18.83,27.34,-18.57), (28.41,-18.83,28.67,-18.57), (28.93,-18.83,29.19,-18.57), (37.06,-18.83,37.32,-18.57), (37.58,-18.83,37.84,-18.57), (28.41,-17.355,28.67,-17.095), (28.93,-17.355,29.19,-17.095), (7.41,-17.33,7.67,-17.07), (7.93,-17.33,8.19,-17.07), (16.06,-17.33,16.32,-17.07), (16.58,-17.33,16.84,-17.07), (17.91,-17.33,18.17,-17.07), (18.43,-17.33,18.69,-17.07), (26.56,-17.33,26.82,-17.07), (27.08,-17.33,27.34,-17.07), (37.06,-17.33,37.32,-17.07), (37.58,-17.33,37.84,-17.07), (9.545,-16.33,9.805,-16.07), (37.06,-14.34,37.32,-14.08), (37.58,-14.34,37.84,-14.08), (37.06,-13.82,37.32,-13.56), (37.58,-13.82,37.84,-13.56), (5.545,-13.53,5.805,-13.27), (7.145,-13.355,7.405,-13.095), (7.995,-13.355,8.255,-13.095), (9.545,-13.18,9.805,-12.92), (20.37,-12.665,20.63,-12.405), (27.985,-12.58,28.245,-12.32), (28.505,-12.58,28.765,-12.32), (20.37,-12.145,20.63,-11.885), (22.76,-11.79,23.02,-11.53), (23.28,-11.79,23.54,-11.53), (32.595,-11.5,32.855,-11.24), (5.545,-11.43,5.805,-11.17), (26.67,-11.355,26.93,-11.095), (38.52,-11.355,38.78,-11.095), (7.995,-11.305,8.255,-11.045), (22.76,-11.27,23.02,-11.01), (23.28,-11.27,23.54,-11.01), (9.545,-11.13,9.805,-10.87), (6.185,-5.505,6.445,-5.245), (6.705,-5.505,6.965,-5.245), (8.535,-5.505,8.795,-5.245), (9.055,-5.505,9.315,-5.245), (2.46,-4.63,2.72,-4.37), (2.98,-4.63,3.24,-4.37), (5.51,-4.63,5.77,-4.37), (6.03,-4.63,6.29,-4.37), (9.21,-4.63,9.47,-4.37), (9.73,-4.63,9.99,-4.37), (12.26,-4.63,12.52,-4.37), (12.78,-4.63,13.04,-4.37), (32.62,-4.325,32.88,-4.065), (2.46,-3.08,2.72,-2.82), (2.98,-3.08,3.24,-2.82), (5.51,-3.08,5.77,-2.82), (6.03,-3.08,6.29,-2.82), (9.26,-3.08,9.52,-2.82), (9.78,-3.08,10.04,-2.82), (12.26,-3.08,12.52,-2.82), (12.78,-3.08,13.04,-2.82), (6.185,-2.205,6.445,-1.945), (6.705,-2.205,6.965,-1.945), (8.535,-2.205,8.795,-1.945), (9.055,-2.205,9.315,-1.945), (30.685,-1.505,30.945,-1.245), (31.205,-1.505,31.465,-1.245), (34.035,-1.505,34.295,-1.245), (34.555,-1.505,34.815,-1.245), (32.62,1.37,32.88,1.63)])
A(b04_ota, metal2, 14.05, -19, 2.85, 0.6, 3, 1, 10.5, 0)
A(b04_ota, metal2, 11, -18.4, 0.45, 0.9, 3, 1, 10.5, 0)
A(b04_ota, metal2, 7.35, -17.5, 2.85, 0.6, 3, 1, 10.5, 0)
R(b04_ota, metal2, [(6.2,-19,11.45,-18.4), (17.85,-19,21.95,-18.4), (27.75,-19,32.45,-18.4), (6.2,-18.4,6.7,-15.6), (27.75,-18.4,28.05,-17.5), (11,-17.5,16.9,-16.9), (21.5,-17.5,28.05,-16.9), (32,-17.5,37.9,-16.9), (28.35,-16.9,29.25,-13.95), (37,-16.9,37.9,-13.4), (9.45,-16.4,9.9,-12.85), (6.2,-15.6,8.35,-15.2), (7.9,-15.2,8.35,-12.85), (18.6,-13.95,29.25,-13.45), (5.45,-13.6,5.9,-13.1), (7.05,-13.6,7.5,-12.4), (18.6,-13.45,19.3,-12.4), (5.45,-13.1,6.65,-12.7), (20.15,-12.9,20.85,-11.55), (24.55,-12.8,29,-12.1), (7.05,-12.4,19.3,-11.95), (7.9,-11.95,8.35,-10.8), (21.4,-11.95,23.65,-10.85), (32.4,-11.745,33.1,-3.795), (26.5,-11.6,27.1,-3), (38.35,-11.6,38.95,-3), (8.7,-11.55,20.85,-11.15), (4.1,-11.5,5.9,-11.1), (9.45,-11.15,9.9,-10.8), (10.95,-11.15,11.4,-4.7), (4.1,-11.1,4.55,-4.7), (5.45,-11.1,5.9,-10.75), (21.4,-10.85,21.9,-3.15), (6.1,-5.6,7.65,-5.15), (8.2,-5.6,9.4,-5.15), (8.2,-5.15,8.6,-3.95), (2.35,-4.7,6.4,-4.3), (9.1,-4.7,13.15,-4.3), (22.6,-4.65,23.2,2.65), (42.25,-4.65,42.85,2.65), (6.9,-3.95,8.6,-3.55), (6.9,-3.55,7.3,-2.3), (3.9,-3.35,4.85,-3.15), (2.35,-3.15,6.4,-2.75), (9.15,-3.15,21.9,-2.75), (26.5,-3,38.95,-2.45), (3.9,-2.75,4.85,-2.65), (6.1,-2.3,7.3,-1.85), (7.85,-2.3,9.4,-1.85), (30.55,-1.65,34.95,-1.1), (32.35,-1.1,33.15,1.9), (22.6,2.65,42.85,3.35)])
R(b04_ota, metal2_pin, [(38.55,-9.65,38.75,-9.5)])
A(b04_ota, via2, 14.295, -18.83, 0.26, 0.26, 3, 1, 10.5, 0)
A(b04_ota, via2, 9.695, -17.33, 0.26, 0.26, 3, 1, 10.5, 0)
R(b04_ota, via2, [(9.545,-13.53,9.805,-13.27), (6.295,-13.03,6.555,-12.77), (24.82,-12.58,25.08,-12.32), (8.795,-11.48,9.055,-11.22), (5.545,-11.08,5.805,-10.82), (7.22,-5.505,7.48,-5.245), (3.985,-3.13,4.245,-2.87), (4.505,-3.13,4.765,-2.87), (8.02,-2.205,8.28,-1.945)])
R(b04_ota, metal3, [(14.05,-19,20.7,-18.3), (24.55,-19,25.35,-17.5), (35.05,-19,35.85,-17.5), (14.05,-18.3,14.85,-17.5), (19.9,-18.3,20.7,-17.5), (3.9,-17.5,14.85,-16.9), (19.9,-17.5,25.35,-16.9), (30.4,-17.5,35.85,-16.9), (3.9,-16.9,4.85,-2.65), (24.55,-16.9,25.35,-12.1), (9.45,-13.6,9.9,-10.85), (6.2,-13.1,7.9,-12.7), (7.5,-12.7,7.9,-11.55), (7.5,-11.55,9.15,-11.15), (5.45,-11.5,5.9,-10.85), (5.45,-10.85,9.9,-10.5), (7,-5.6,7.95,-5.15), (7.55,-5.15,7.95,-2.3), (7.55,-2.3,8.5,-1.85)])
R(b04_ota, lvpwell, [(0.75,-20.75,49.4,-8.3)])
b04_ota.add(gdstk.Reference(nfet_03v3_2m8gy8, (4.26,-16.94)))
b04_ota.add(gdstk.Reference(nfet_03v3_ppzgc5, (4.26,-18.94)))
b04_ota.add(gdstk.Reference(nfet_03v3_2m8gy8, (9.51,-16.94)))
b04_ota.add(gdstk.Reference(nfet_03v3_ppzgc5, (9.51,-18.94)))
b04_ota.add(gdstk.Reference(nfet_03v3_ppzgc5, (14.76,-18.94)))
b04_ota.add(gdstk.Reference(nfet_03v3_2m8gy8, (14.76,-16.94)))
b04_ota.add(gdstk.Reference(nfet_03v3_2m8gy8, (20.01,-16.94)))
b04_ota.add(gdstk.Reference(nfet_03v3_ppzgc5, (20.01,-18.94)))
b04_ota.add(gdstk.Reference(nfet_03v3_2m8gy8, (30.51,-16.94)))
b04_ota.add(gdstk.Reference(nfet_03v3_ppzgc5, (30.51,-18.94)))
b04_ota.add(gdstk.Reference(nfet_03v3_ppzgc5, (25.26,-18.94)))
b04_ota.add(gdstk.Reference(nfet_03v3_2m8gy8, (25.26,-16.94)))
b04_ota.add(gdstk.Reference(nfet_03v3_2m8gy8, (41.01,-16.94)))
b04_ota.add(gdstk.Reference(nfet_03v3_ppzgc5, (41.01,-18.94)))
b04_ota.add(gdstk.Reference(nfet_03v3_ppzgc5, (35.76,-18.94)))
b04_ota.add(gdstk.Reference(nfet_03v3_2m8gy8, (35.76,-16.94)))
b04_ota.add(gdstk.Reference(nfet_03v3_bn4d6p, (4.31,-13.34)))
b04_ota.add(gdstk.Reference(nfet_03v3_vm6bb4, (4.31,-11.04)))
b04_ota.add(gdstk.Reference(nfet_03v3_vm6bb4, (8.81,-11.04)))
b04_ota.add(gdstk.Reference(nfet_03v3_bn4d6p, (6.56,-13.34)))
b04_ota.add(gdstk.Reference(nfet_03v3_bn4d6p, (8.81,-13.34)))
b04_ota.add(gdstk.Reference(nfet_03v3_vm6bb4, (6.56,-11.04)))
b04_ota.add(gdstk.Reference(nfet_03v3_2m8gy8, (19.61,-10.89)))
b04_ota.add(gdstk.Reference(nfet_03v3_bn4d6p, (11.06,-13.34)))
b04_ota.add(gdstk.Reference(nfet_03v3_vm6bb4, (11.06,-11.04)))
b04_ota.add(gdstk.Reference(nfet_03v3_2m8gy8, (24.86,-10.89)))
b04_ota.add(gdstk.Reference(nfet_03v3_2m8gy8, (30.11,-10.89)))
b04_ota.add(gdstk.Reference(nfet_03v3_2m8gy8, (40.61,-10.89)))
b04_ota.add(gdstk.Reference(nfet_03v3_2m8gy8, (35.36,-10.89)))
b04_ota.add(gdstk.Reference(nfet_03v3_2m8gy8, (45.86,-10.89)))
b04_ota.add(gdstk.Reference(pfet_03v3_6kzzre, (-0.18,-2.78)))
b04_ota.add(gdstk.Reference(pfet_03v3_wljepm, (-0.18,-4.68)))
b04_ota.add(gdstk.Reference(pfet_03v3_vsaa3l, (4.35,-2.78)))
b04_ota.add(gdstk.Reference(pfet_03v3_vsaa3l, (11.15,-2.78)))
b04_ota.add(gdstk.Reference(pfet_03v3_p2re22, (11.15,-4.68)))
b04_ota.add(gdstk.Reference(pfet_03v3_p2re22, (4.35,-4.68)))
b04_ota.add(gdstk.Reference(pfet_03v3_6kzzre, (15.67,-2.78)))
b04_ota.add(gdstk.Reference(pfet_03v3_jkk7x9, (19.62,-3.68)))
b04_ota.add(gdstk.Reference(pfet_03v3_wljepm, (15.67,-4.68)))
b04_ota.add(gdstk.Reference(pfet_03v3_jkk7x9, (24.87,-3.68)))
b04_ota.add(gdstk.Reference(pfet_03v3_jkk7x9, (30.12,-3.68)))
b04_ota.add(gdstk.Reference(pfet_03v3_jkk7x9, (40.62,-3.68)))
b04_ota.add(gdstk.Reference(pfet_03v3_jkk7x9, (35.37,-3.68)))
b04_ota.add(gdstk.Reference(pfet_03v3_jkk7x9, (45.87,-3.68)))
b04_ota.add(gdstk.Reference(pfet_03v3_mw6kh8, (7.78,2.02)))
b04_ota.add(gdstk.Reference(pfet_03v3_jkk7x9, (19.62,2.12)))
b04_ota.add(gdstk.Reference(pfet_03v3_jkk7x9, (24.87,2.12)))
b04_ota.add(gdstk.Reference(pfet_03v3_jkk7x9, (30.12,2.12)))
b04_ota.add(gdstk.Reference(pfet_03v3_jkk7x9, (40.62,2.12)))
b04_ota.add(gdstk.Reference(pfet_03v3_jkk7x9, (35.37,2.12)))
b04_ota.add(gdstk.Reference(pfet_03v3_jkk7x9, (45.87,2.12)))
b04_ota.add(gdstk.Label('VDD', (15.75,5.25), layer=34, texttype=10))
b04_ota.add(gdstk.Label('GND', (22.65,-20.85), layer=34, texttype=10))
b04_ota.add(gdstk.Label('Vin+', (2,-2.1), layer=34, texttype=10))
b04_ota.add(gdstk.Label('Vin-', (13.175,-2.05), layer=34, texttype=10))
b04_ota.add(gdstk.Label('Vout', (38.65,-9.575), layer=36, texttype=10))
b04_ota.add(gdstk.Label('Vbias0', (7.825,3.675), layer=34, texttype=10))
b04_ota.add(gdstk.Label('Vbias1', (22.6,-16.35), layer=34, texttype=10))
b04_ota.add(gdstk.Label('Vbias2', (7.625,-10.175), layer=34, texttype=10))
b04_ota.add(gdstk.Label('Vbias3', (29.9,-5.55), layer=34, texttype=10))

b04_buffer_out = lib.new_cell('B04_buffer_out')
R(b04_buffer_out, metal1, [(53.7,-52.15,57,-30), (-2.9,-31.7,0.4,27.3), (51.3,-30,57,-17.25), (23.7,-25.05,24.05,-24.75), (19.55,-18.5,21,-18.15), (53.7,-17.25,57,0), (8.45,-16.45,41.3,-16), (30.95,-14.3,31.65,-13.85), (9.45,-5.1,10.25,-4.65), (51.4,0,57,12.75), (23.4,4.95,23.75,5.25), (19.85,11.5,21.3,11.85), (8.45,13.5,41.3,14), (31.35,15.7,32.1,16.15), (9.9,24.9,10.7,25.35)])
R(b04_buffer_out, metal1_pin, [(54.9,-28.75,55.55,-28.45), (38.95,-16.3,39.4,-16.15), (-1.75,-0.05,-0.85,0.65), (39.2,13.55,39.6,13.9)])
A(b04_buffer_out, via1, 19.625, -18.455, 0.26, 0.26, 3, 1, 0.52, 0)
A(b04_buffer_out, via1, 19.925, 11.545, 0.26, 0.26, 3, 1, 0.52, 0)
R(b04_buffer_out, via1, [(23.745,-25.03,24.005,-24.77), (8.52,-16.355,8.78,-16.095), (29.02,-16.355,29.28,-16.095), (40.87,-16.355,41.13,-16.095), (31.17,-14.205,31.43,-13.945), (9.46,-5.005,9.72,-4.745), (9.98,-5.005,10.24,-4.745), (23.445,4.97,23.705,5.23), (8.52,13.62,8.78,13.88), (29.02,13.62,29.28,13.88), (40.87,13.62,41.13,13.88), (31.595,15.795,31.855,16.055), (9.91,24.995,10.17,25.255), (10.43,24.995,10.69,25.255)])
R(b04_buffer_out, metal2, [(-3.6,-55.55,-3,-55.2), (-3.6,-55.2,-2.5,-54.5), (-3.6,-54.5,-3,-54.35), (-3.85,-36.3,-3.25,-35.25), (-3.85,-35.25,-2.85,-34.85), (-3.85,-34.85,-3.25,-34.25), (27.25,-32.7,28.55,-30.85), (15.25,-32.35,16.65,-31.6), (35.35,-32.3,36.4,-31.55), (21.9,-32.1,22.25,-31.55), (12.2,-30.85,28.55,-30.35), (22.75,-25.1,24.2,-24.7), (17.3,-18.55,21.15,-18.1), (8.45,-16.45,8.85,-14.25), (28.9,-16.4,29.4,-16.05), (40.75,-16.4,41.25,-16.05), (30.9,-14.35,32.55,-13.8), (7.15,-11,8.9,-10.55), (9.4,-5.15,11.8,-4.6), (22.6,4.9,23.8,5.3), (17.3,11.45,21.35,11.9), (8.45,13.5,8.85,16.15), (28.9,13.55,29.4,13.95), (40.75,13.55,41.25,13.95), (31.25,15.65,33.8,16.2), (7.4,19,9.4,19.45), (9.85,24.85,11.95,25.4)])
R(b04_buffer_out, metal2_pin, [(-3.6,-55.2,-3.55,-55.1), (-3.8,-35.4,-3.7,-35.25), (7.25,-10.9,7.6,-10.8), (7.5,19.05,7.7,19.15)])
A(b04_buffer_out, via2, 15.3, -32.105, 0.26, 0.26, 3, 1, 0.52, 0)
A(b04_buffer_out, via2, 17.475, -18.455, 0.26, 0.26, 3, 1, 0.52, 0)
A(b04_buffer_out, via2, 17.575, 11.545, 0.26, 0.26, 3, 1, 0.52, 0)
R(b04_buffer_out, via2, [(35.485,-32.055,35.745,-31.795), (36.005,-32.055,36.265,-31.795), (21.945,-31.955,22.205,-31.695), (12.52,-30.73,12.78,-30.47), (22.895,-25.03,23.155,-24.77), (32.02,-14.205,32.28,-13.945), (10.91,-5.005,11.17,-4.745), (11.43,-5.005,11.69,-4.745), (22.695,4.97,22.955,5.23), (33.245,15.795,33.505,16.055), (11.11,24.995,11.37,25.255), (11.63,24.995,11.89,25.255)])
A(b04_buffer_out, via3, 15.3, -30.855, 0.26, 0.26, 3, 1, 0.52, 0)
A(b04_buffer_out, via3, 15.275, -18.455, 0.26, 0.26, 3, 2, 0.52, 30)
R(b04_buffer_out, via3, [(35.485,-31.005,35.745,-30.745), (36.005,-31.005,36.265,-30.745), (21.945,-30.83,22.205,-30.57), (12.52,-29.98,12.78,-29.72), (21.945,-25.03,22.205,-24.77), (33.385,-14.205,33.645,-13.945), (33.905,-14.205,34.165,-13.945), (12.26,-5.005,12.52,-4.745), (12.78,-5.005,13.04,-4.745), (21.945,4.97,22.205,5.23), (35.485,15.795,35.745,16.055), (36.005,15.795,36.265,16.055), (12.26,24.995,12.52,25.255), (12.78,24.995,13.04,25.255)])
R(b04_buffer_out, metal3, [(15.15,-32.5,16.7,-30.25), (35.3,-32.45,36.45,-30.35), (21.85,-32.25,22.3,-30.35), (12.2,-30.85,13.1,-29.55), (21.85,-25.1,23.3,-24.7), (15.15,-18.55,19,-18.1), (31.75,-14.35,34.25,-13.8), (10.85,-5.15,13.1,-4.6), (21.85,4.9,23.05,5.3), (15.15,11.45,19.2,11.9), (32.95,15.65,36.45,16.2), (11.05,24.85,13.1,25.4)])
R(b04_buffer_out, metal4, [(35.3,-31.35,36.45,-14.35), (15.15,-31.25,16.7,11.9), (21.85,-31.1,22.3,5.3), (12.2,-30.15,13.1,25.4), (33.3,-14.35,36.45,-13.8), (35.3,-13.8,36.45,16.2)])
b04_buffer_out.add(gdstk.Reference(b04_ota_bias_ratio_5, (9.2,-38.45)))
b04_buffer_out.add(gdstk.Reference(b04_ota, (2.35,-8.7)))
b04_buffer_out.add(gdstk.Reference(b04_ota, (2.35,21.3)))
b04_buffer_out.add(gdstk.Label('VDD', (-1.3,0.3), layer=34, texttype=10))
b04_buffer_out.add(gdstk.Label('GND', (55.225,-28.6), layer=34, texttype=10))
b04_buffer_out.add(gdstk.Label('VbiasP', (-3.75,-35.325), layer=36, texttype=10))
b04_buffer_out.add(gdstk.Label('VbiasN', (-3.575,-55.15), layer=36, texttype=10))
b04_buffer_out.add(gdstk.Label('Vinbpf', (7.6,19.1), layer=36, texttype=10))
b04_buffer_out.add(gdstk.Label('Vinenvelope', (7.425,-10.85), layer=36, texttype=10))
b04_buffer_out.add(gdstk.Label('Vbpf', (39.4,13.725), layer=34, texttype=10))
b04_buffer_out.add(gdstk.Label('Venvelope', (39.175,-16.225), layer=34, texttype=10))

lib.write_gds('B04_buffer_out.gds')
